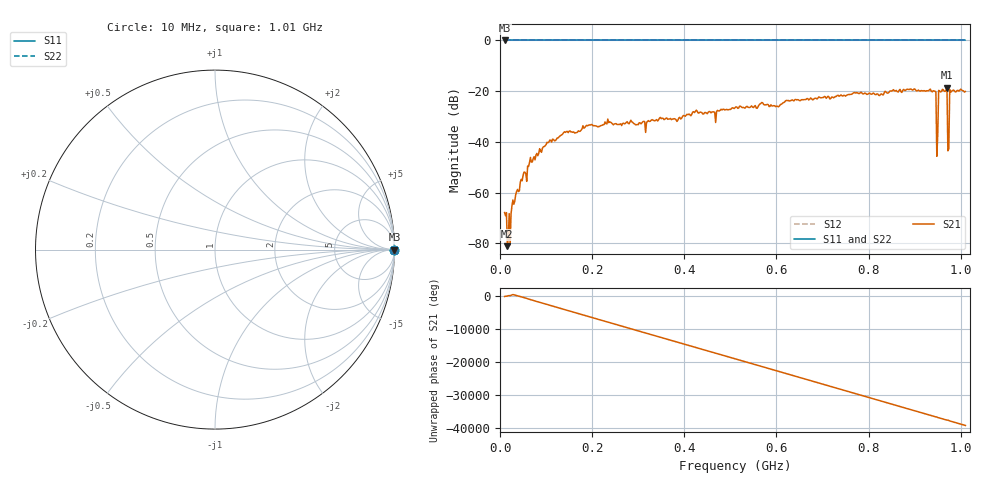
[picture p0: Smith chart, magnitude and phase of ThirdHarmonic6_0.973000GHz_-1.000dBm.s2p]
! 8/16/2025 7:25:14 AM
! C:\ANRITSUVNA\TEMP\TEMP.S2P
! CHANNEL.1
! TR.MEASUREMENT
! RAW.DATA
! RF.CORRECTION.OFF
! AVERAGING.OFF
! IF.BANDWIDTH: 5KHZ
! SWEEPTYPE:  FREQ.SWEEP(Linear)
! Reference Plane Port Info
! PORT:  PORT1  PORT2
! DISTANCE:  0  m  0  m
! TIME:  0  s  0  s
! PHASE.OFFSET:  0  deg.  0  deg.
! LOSS:  0  dB  0  dB
! REF.LOSS:  0  dB  0  dB
! REF.FREQ:  0  Hz  0  Hz
! Power Info
! POWER:  -20  dBm  -20  dBm
! EFF.POWER:  -20  dBm  -20  dBm
! SOURCE.ATTEN:  0  dB  0  dB
! TEST.ATTEN:  0  dB  0  dB
# GHZ S RI R 50.0
! FREQ.GHZ  S11RE  S11IM  S21RE  S21IM  S12RE  S12IM  S22RE  S22IM
!; PortSelection: Port_12
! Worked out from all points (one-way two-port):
!   501 points, 10 MHz to 1.01 GHz, reference 50 ohm
!   highest |S21| = -18.67 dB at 970 MHz (marker M1); lowest = -81.1 dB at 16 MHz (marker M2)
!   lowest |S11| = 0.0 dB at 10 MHz (marker M3)
!   |S11| at or under -10 dB: nowhere
!   |S22| runs from 0.0 to 0.0 dB; largest |S21 - S12| = 1.1
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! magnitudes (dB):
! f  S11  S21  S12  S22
! 10 MHz  0.0  -67.8  0.0  0.0
! 16 MHz  0.0  -81.1  0.0  0.0
! 20 MHz  0.0  -68.3  0.0  0.0
! 30 MHz  0.0  -64.5  0.0  0.0
! 48 MHz  0.0  -55.3  0.0  0.0
! 70 MHz  0.0  -47.9  0.0  0.0
! 106 MHz  0.0  -40.1  0.0  0.0
! 178 MHz  0.0  -34.9  0.0  0.0
! 238 MHz  0.0  -32.1  0.0  0.0
! 344 MHz  0.0  -31.3  0.0  0.0
! 510 MHz  0.0  -26.5  0.0  0.0
! 678 MHz  0.0  -23.3  0.0  0.0
! 844 MHz  0.0  -20.5  0.0  0.0
! 942 MHz  0.0  -19.9  0.0  0.0
! 946 MHz  0.0  -20.3  0.0  0.0
! 952 MHz  0.0  -19.7  0.0  0.0
! 956 MHz  0.0  -20.3  0.0  0.0
! 966 MHz  0.0  -20.1  0.0  0.0
! 970 MHz  0.0  -18.7  0.0  0.0
! 976 MHz  0.0  -19.4  0.0  0.0
! 980 MHz  0.0  -20.0  0.0  0.0
! 1.01 GHz  0.0  -20.1  0.0  0.0
